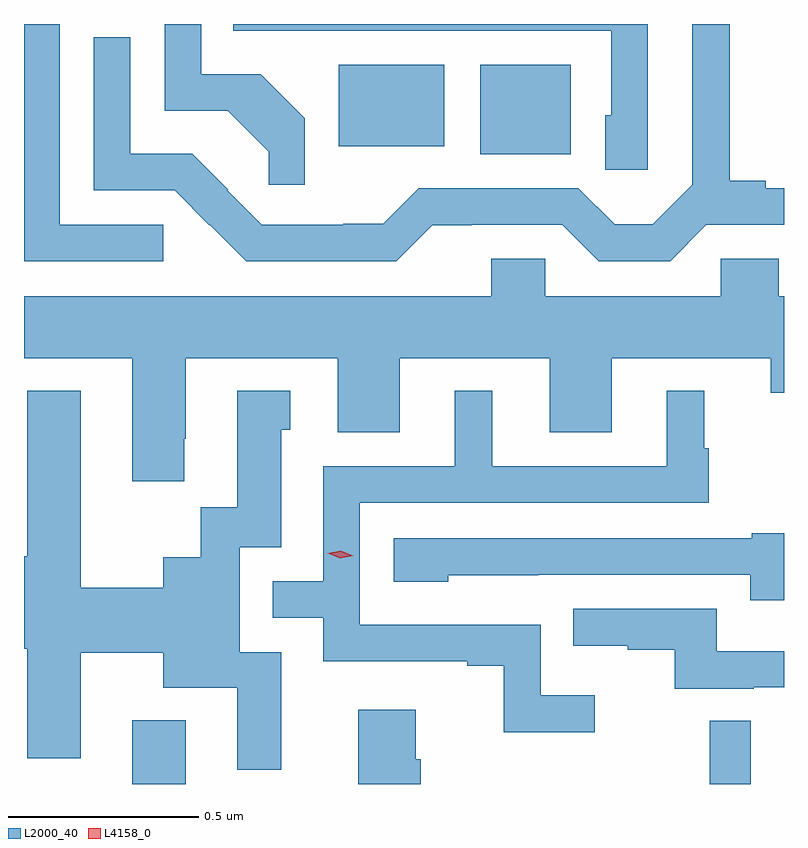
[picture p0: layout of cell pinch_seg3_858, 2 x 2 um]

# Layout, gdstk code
import gdstk
lib = gdstk.Library(unit=1e-6, precision=1e-09)
def R(c, l, rs):  # rectangles x0, y0, x1, y1
    for r in rs: c.add(gdstk.rectangle(r[:2], r[2:], *l))
def P(c, l, *ps):  # polygons
    for p in ps: c.add(gdstk.Polygon(p, *l))
L2000_40 = (2000, 40)
L4158_0 = (4158, 0)

pinch_seg3_858 = lib.new_cell('pinch_seg3_858')
R(pinch_seg3_858, L2000_40, [(720.929,739.756,721.069,739.924), (722.448,739.756,722.556,739.922), (721.844,741.413,722.083,741.649), (721.472,741.434,721.75,741.649)])
P(pinch_seg3_858, L2000_40, [(721.383,741.508),(721.267,741.624),(721.11,741.624),(721.11,741.756),(721.014,741.756),(721.014,741.528),(721.18,741.528),(721.288,741.42),(721.288,741.333),(721.383,741.333)],
  [(722.286,741.756),(721.195,741.756),(721.195,741.738),(722.19,741.738),(722.19,741.516),(722.174,741.516),(722.174,741.373),(722.286,741.373)],
  [(721.011,741.228),(720.738,741.228),(720.738,741.756),(720.644,741.756),(720.644,741.132),(721.011,741.132)],
  [(721.718,741.227),(721.822,741.227),(721.822,741.228),(722.061,741.228),(722.157,741.132),(722.344,741.132),(722.44,741.228),(722.644,741.228),(722.644,741.324),(722.596,741.324),(722.596,741.344),(722.501,741.344),(722.501,741.756),(722.403,741.756),(722.403,741.333),(722.299,741.229),(722.198,741.229),(722.103,741.324),(721.683,741.324),(721.589,741.23),(721.484,741.23),(721.484,741.228),(721.269,741.228),(721.179,741.318),(721.181,741.32),(721.087,741.414),(720.924,741.414),(720.924,741.721),(720.828,741.721),(720.828,741.318),(721.041,741.318),(721.132,741.227),(721.133,741.228),(721.229,741.132),(721.623,741.132)],
  [(721.066,740.665),(721.069,740.665),(721.069,740.876),(721.469,740.876),(721.469,740.682),(721.633,740.682),(721.633,740.876),(722.027,740.876),(722.027,740.682),(722.191,740.682),(722.191,740.876),(722.609,740.876),(722.609,740.786),(722.644,740.786),(722.644,741.04),(722.63,741.04),(722.63,741.138),(722.478,741.138),(722.478,741.04),(722.016,741.04),(722.016,741.138),(721.874,741.138),(721.874,741.04),(720.644,741.04),(720.644,740.876),(720.929,740.876),(720.929,740.553),(721.066,740.553)],
  [(722.146,739.99),(722.004,739.99),(722.004,740.175),(721.527,740.175),(721.527,740.496),(722.446,740.496),(722.446,740.64),(722.434,740.64),(722.434,740.791),(722.336,740.791),(722.336,740.592),(721.876,740.592),(721.876,740.791),(721.778,740.791),(721.778,740.592),(721.431,740.592),(721.431,740.289),(721.298,740.289),(721.298,740.193),(721.431,740.193),(721.431,740.079),(721.811,740.079),(721.811,740.067),(721.906,740.067),(721.906,739.892),(722.146,739.892)],
  [(721.321,740.103),(721.212,740.103),(721.212,740.379),(721.321,740.379),(721.321,740.688),(721.345,740.688),(721.345,740.791),(721.205,740.791),(721.205,740.484),(721.109,740.484),(721.109,740.353),(721.01,740.353),(721.01,740.273),(720.793,740.273),(720.793,740.791),(720.653,740.791),(720.653,740.356),(720.644,740.356),(720.644,740.112),(720.653,740.112),(720.653,739.824),(720.793,739.824),(720.793,740.101),(721.01,740.101),(721.01,740.009),(721.205,740.009),(721.205,739.794),(721.321,739.794)],
  [(722.644,740.416),(722.559,740.416),(722.559,740.403),(721.617,740.403),(721.617,740.288),(721.761,740.288),(721.761,740.306),(721.997,740.306),(721.997,740.307),(722.555,740.307),(722.555,740.24),(722.644,740.24)],
  [(722.564,740.01),(722.644,740.01),(722.644,740.105),(722.467,740.105),(722.467,740.217),(722.089,740.217),(722.089,740.12),(722.233,740.12),(722.233,740.109),(722.357,740.109),(722.357,740.007),(722.564,740.007)],
  [(721.688,739.821),(721.675,739.821),(721.675,739.951),(721.523,739.951),(721.523,739.756),(721.688,739.756)])
P(pinch_seg3_858, L4158_0, [(721.476,740.35),(721.443,740.363),(721.442,740.363),(721.443,740.363),(721.478,740.37),(721.511,740.357),(721.511,740.357),(721.511,740.357)])

lib.write_gds('pinch_seg3_858.gds')
